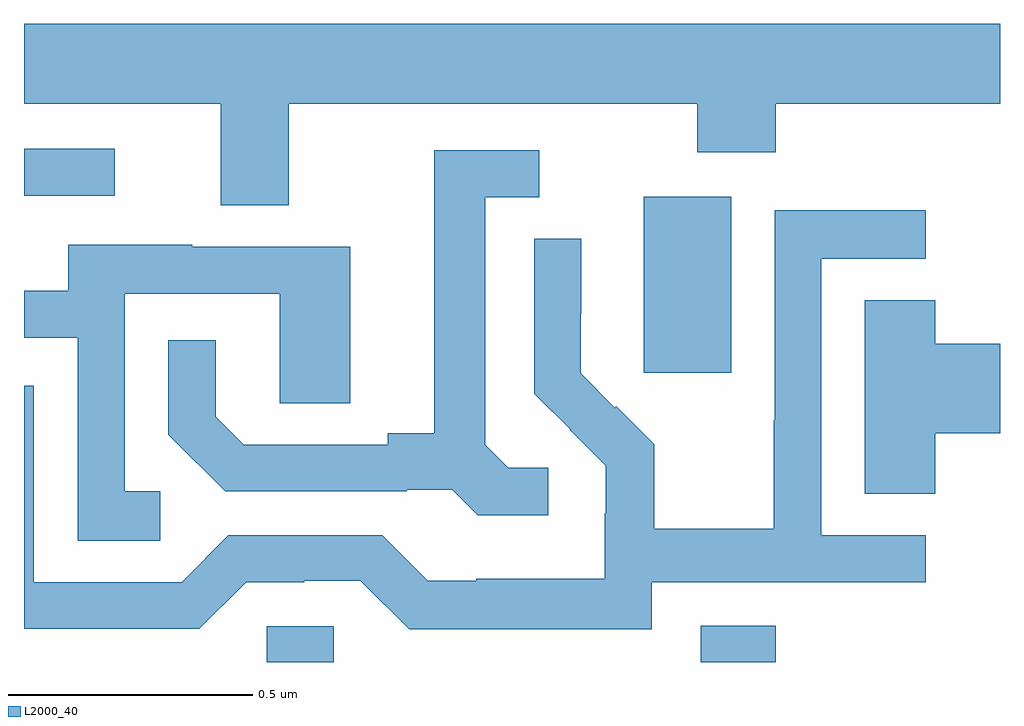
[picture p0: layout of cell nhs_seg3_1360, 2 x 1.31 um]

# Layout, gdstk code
import gdstk
lib = gdstk.Library(unit=1e-6, precision=1e-09)
def R(c, l, rs):  # rectangles x0, y0, x1, y1
    for r in rs: c.add(gdstk.rectangle(r[:2], r[2:], *l))
def P(c, l, *ps):  # polygons
    for p in ps: c.add(gdstk.Polygon(p, *l))
L2000_40 = (2000, 40)

nhs_seg3_1360 = lib.new_cell('nhs_seg3_1360')
R(nhs_seg3_1360, L2000_40, [(127.497,738.4,127.635,738.474), (128.387,738.4,128.54,738.475), (128.27,738.993,128.449,739.354), (127,739.356,127.186,739.452)])
P(nhs_seg3_1360, L2000_40, [(127.543,739.544),(128.38,739.544),(128.38,739.445),(128.54,739.445),(128.54,739.544),(129,739.544),(129,739.708),(127,739.708),(127,739.544),(127.403,739.544),(127.403,739.336),(127.543,739.336)],
  [(128.074,738.798),(127.992,738.798),(127.945,738.845),(127.945,739.353),(128.056,739.353),(128.056,739.449),(127.841,739.449),(127.841,738.869),(127.745,738.869),(127.745,738.846),(127.45,738.846),(127.393,738.903),(127.393,739.06),(127.296,739.06),(127.296,738.866),(127.412,738.75),(127.784,738.75),(127.784,738.753),(127.878,738.753),(127.93,738.701),(128.074,738.701)],
  [(128.286,738.564),(128.848,738.564),(128.848,738.66),(128.634,738.66),(128.634,739.227),(128.848,739.227),(128.848,739.326),(128.538,739.326),(128.538,738.896),(128.536,738.896),(128.536,738.673),(128.291,738.673),(128.291,738.847),(128.214,738.924),(128.211,738.921),(128.141,738.992),(128.141,739.114),(128.142,739.114),(128.142,739.268),(128.046,739.268),(128.046,738.95),(128.119,738.877),(128.118,738.876),(128.192,738.802),(128.192,738.705),(128.19,738.705),(128.19,738.571),(127.927,738.571),(127.927,738.567),(127.827,738.567),(127.734,738.66),(127.419,738.66),(127.323,738.564),(127.02,738.564),(127.02,738.966),(127,738.966),(127,738.468),(127.359,738.468),(127.455,738.564),(127.574,738.564),(127.574,738.567),(127.689,738.567),(127.789,738.467),(128.286,738.467)],
  [(127.279,738.75),(127.206,738.75),(127.206,739.155),(127.524,739.155),(127.524,738.931),(127.669,738.931),(127.669,739.251),(127.345,739.251),(127.345,739.255),(127.091,739.255),(127.091,739.161),(127,739.161),(127,739.065),(127.11,739.065),(127.11,738.649),(127.279,738.649)],
  [(128.867,738.869),(129,738.869),(129,739.052),(128.867,739.052),(128.867,739.142),(128.723,739.142),(128.723,738.745),(128.867,738.745)])

lib.write_gds('nhs_seg3_1360.gds')
